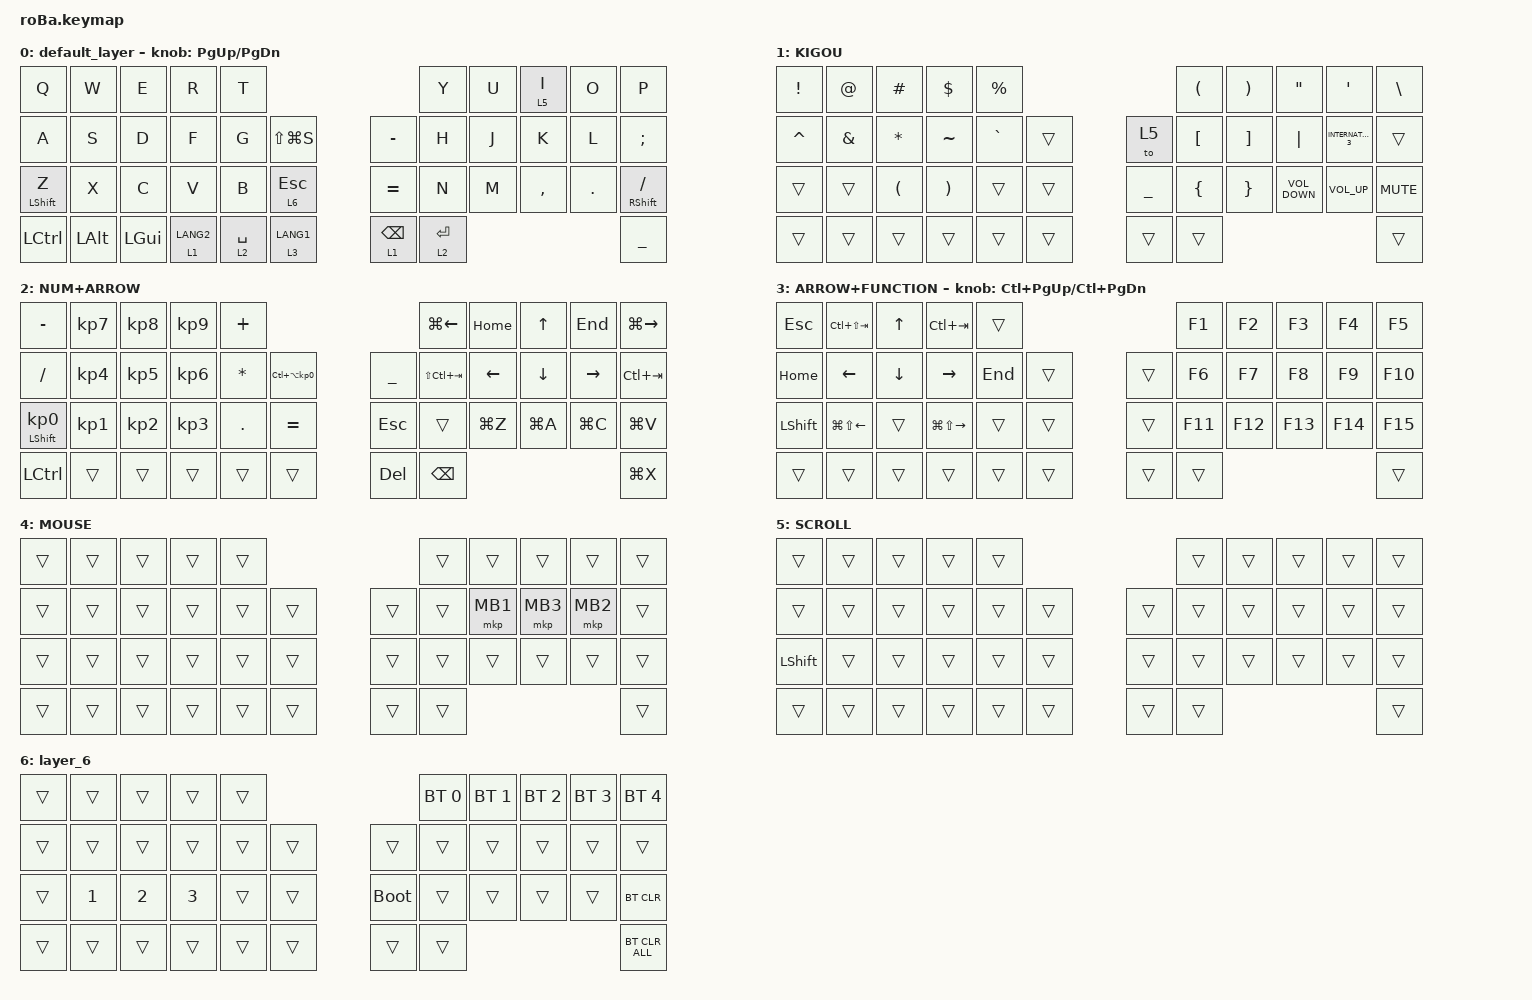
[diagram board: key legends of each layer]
#include <behaviors.dtsi>
#include <dt-bindings/zmk/bt.h>
#include <dt-bindings/zmk/keys.h>
#include <dt-bindings/zmk/pointing.h>

&mt {
    flavor = "balanced";
    quick-tap-ms = <0>;
};

&lt {
    flavor = "balanced";
    quick-tap-ms = <150>;
};

&trackball {
    automouse-layer = <4>;
    scroll-layers = <5>;

    // arrows {
    //     layers = <3>;
    //     bindings =
    //         <&kp RIGHT_ARROW>,
    //         <&kp LEFT_ARROW>,
    //         <&kp UP_ARROW>,
    //         <&kp DOWN_ARROW>;
    //     tick = <10>;
    //     wait-ms = <5>;
    //     tap-ms = <5>;
    // };
};

/ {
    combos {
        compatible = "zmk,combos";

        tab {
            bindings = <&kp TAB>;
            key-positions = <11 12>;
        };

        shift_tab {
            bindings = <&kp LS(TAB)>;
            key-positions = <12 13>;
        };

        muhennkann {
            bindings = <&to_layer_0 INT_MUHENKAN>;
            key-positions = <11 10>;
        };

        double_quotation {
            bindings = <&kp DOUBLE_QUOTES>;
            key-positions = <20 21>;
        };

        eq {
            bindings = <&kp EQUAL>;
            key-positions = <24 25>;
        };
    };

    macros {
        to_layer_0: to_layer_0 {
            compatible = "zmk,behavior-macro-one-param";
            #binding-cells = <1>;
            bindings = <&to 0 &macro_param_1to1 &kp MACRO_PLACEHOLDER>;
            label = "TO_LAYER_0";
        };
    };

    behaviors {
        lt_to_layer_0: lt_to_layer_0 {
            compatible = "zmk,behavior-hold-tap";
            label = "LAYER_TAP_TO_0";
            bindings = <&mo>, <&to_layer_0>;

            #binding-cells = <2>;
            tapping-term-ms = <200>;
        };
    };

    keymap {
        compatible = "zmk,keymap";

        default_layer {
            bindings = <
&kp Q             &kp W         &kp E         &kp R                   &kp T                                                      &kp Y                   &kp U  &lt 5 I    &kp O    &kp P
&kp A             &kp S         &kp D         &kp F                   &kp G        &kp LS(LG(S))                &kp MINUS        &kp H                   &kp J  &kp K      &kp L    &kp SEMICOLON
&mt LEFT_SHIFT Z  &kp X         &kp C         &kp V                   &kp B        &lt_to_layer_0 6 ESCAPE      &kp EQUAL        &kp N                   &kp M  &kp COMMA  &kp DOT  &mt RIGHT_SHIFT SLASH
&kp LCTRL         &kp LEFT_ALT  &kp LEFT_GUI  &lt_to_layer_0 1 LANG2  &lt 2 SPACE  &lt_to_layer_0 3 LANG1       &lt 1 BACKSPACE  &lt_to_layer_0 2 ENTER                             &kp UNDER
            >;

            sensor-bindings = <&inc_dec_kp PG_UP PG_DN>;
        };

        KIGOU {
            bindings = <
&kp EXCL   &kp AT    &kp HASH   &kp DLLR   &kp PERCENT                              &kp LEFT_PARENTHESIS  &kp RIGHT_PARENTHESIS  &kp DOUBLE_QUOTES  &kp SQT              &kp BACKSLASH
&kp CARET  &kp AMPS  &kp ASTRK  &kp TILDE  &kp GRAVE    &trans      &to 5           &kp LEFT_BRACKET      &kp RIGHT_BRACKET      &kp PIPE           &kp INTERNATIONAL_3  &trans
&trans     &trans    &kp LPAR   &kp RPAR   &trans       &trans      &kp UNDERSCORE  &kp LEFT_BRACE        &kp RIGHT_BRACE        &kp C_VOLUME_DOWN  &kp C_VOLUME_UP      &kp K_MUTE
&trans     &trans    &trans     &trans     &trans       &trans      &trans          &trans                                                                               &trans
            >;
        };

        NUM+ARROW {
            bindings = <
&kp MINUS                   &kp KP_NUMBER_7  &kp KP_NUMBER_8  &kp KP_NUMBER_9  &kp PLUS                                                   &kp LG(LEFT_ARROW)  &kp HOME   &kp UP     &kp END    &kp LG(RIGHT_ARROW)
&kp SLASH                   &kp KP_NUMBER_4  &kp KP_NUMBER_5  &kp KP_NUMBER_6  &kp ASTERISK  &kp LC(LA(KP_NUMBER_0))      &kp UNDERSCORE  &kp LS(LC(TAB))     &kp LEFT   &kp DOWN   &kp RIGHT  &kp LC(TAB)
&mt LEFT_SHIFT KP_NUMBER_0  &kp KP_NUMBER_1  &kp KP_NUMBER_2  &kp KP_NUMBER_3  &kp PERIOD    &kp EQUAL                    &kp ESCAPE      &trans              &kp LG(Z)  &kp LG(A)  &kp LG(C)  &kp LG(V)
&kp LCTRL                   &trans           &trans           &trans           &trans        &trans                       &kp DEL         &kp BACKSPACE                                        &kp LG(X)
            >;
        };

        ARROW+FUNCTION {
            bindings = <
&kp ESCAPE      &kp LC(LS(TAB))         &kp UP_ARROW    &kp LC(TAB)              &trans                       &kp F1   &kp F2   &kp F3   &kp F4   &kp F5
&kp HOME        &kp LEFT_ARROW          &kp DOWN_ARROW  &kp RIGHT_ARROW          &kp END  &trans      &trans  &kp F6   &kp F7   &kp F8   &kp F9   &kp F10
&kp LEFT_SHIFT  &kp LG(LS(LEFT_ARROW))  &trans          &kp LG(LS(RIGHT_ARROW))  &trans   &trans      &trans  &kp F11  &kp F12  &kp F13  &kp F14  &kp F15
&trans          &trans                  &trans          &trans                   &trans   &trans      &trans  &trans                              &trans
            >;

            sensor-bindings = <&inc_dec_kp LC(PAGE_UP) LC(PAGE_DOWN)>;
        };

        MOUSE {
            bindings = <
&trans  &trans  &trans  &trans  &trans                      &trans  &trans    &trans    &trans    &trans
&trans  &trans  &trans  &trans  &trans  &trans      &trans  &trans  &mkp MB1  &mkp MB3  &mkp MB2  &trans
&trans  &trans  &trans  &trans  &trans  &trans      &trans  &trans  &trans    &trans    &trans    &trans
&trans  &trans  &trans  &trans  &trans  &trans      &trans  &trans                                &trans
            >;
        };

        SCROLL {
            bindings = <
&trans          &trans  &trans  &trans  &trans                      &trans  &trans  &trans  &trans  &trans
&trans          &trans  &trans  &trans  &trans  &trans      &trans  &trans  &trans  &trans  &trans  &trans
&kp LEFT_SHIFT  &trans  &trans  &trans  &trans  &trans      &trans  &trans  &trans  &trans  &trans  &trans
&trans          &trans  &trans  &trans  &trans  &trans      &trans  &trans                          &trans
            >;
        };

        layer_6 {
            bindings = <
&trans  &trans        &trans        &trans        &trans                           &bt BT_SEL 0  &bt BT_SEL 1  &bt BT_SEL 2  &bt BT_SEL 3  &bt BT_SEL 4
&trans  &trans        &trans        &trans        &trans  &trans      &trans       &trans        &trans        &trans        &trans        &trans
&trans  &kp NUMBER_1  &kp NUMBER_2  &kp NUMBER_3  &trans  &trans      &bootloader  &trans        &trans        &trans        &trans        &bt BT_CLR
&trans  &trans        &trans        &trans        &trans  &trans      &trans       &trans                                                  &bt BT_CLR_ALL
            >;
        };
    };
};
